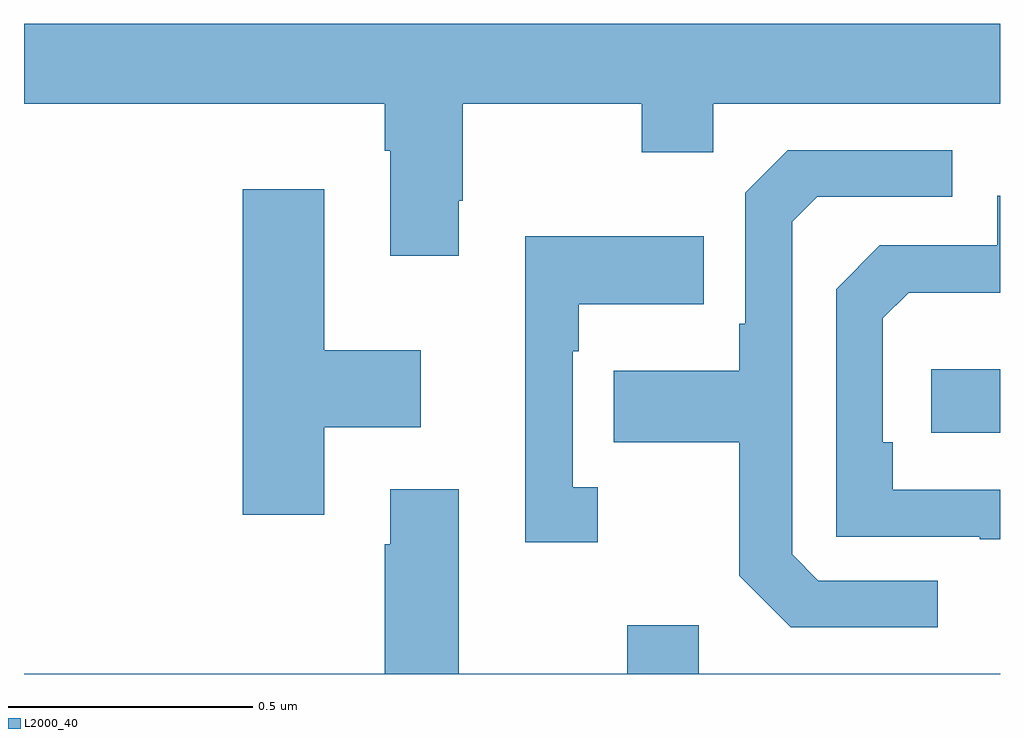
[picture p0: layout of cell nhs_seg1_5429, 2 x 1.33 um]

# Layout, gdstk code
import gdstk
lib = gdstk.Library(unit=1e-6, precision=1e-09)
def R(c, l, rs):  # rectangles x0, y0, x1, y1
    for r in rs: c.add(gdstk.rectangle(r[:2], r[2:], *l))
def P(c, l, *ps):  # polygons
    for p in ps: c.add(gdstk.Polygon(p, *l))
L2000_40 = (2000, 40)

nhs_seg1_5429 = lib.new_cell('nhs_seg1_5429')
R(nhs_seg1_5429, L2000_40, [(179.859,581.694,180,581.824)])
P(nhs_seg1_5429, L2000_40, [(178.891,582.169),(178.899,582.169),(178.899,582.368),(179.266,582.368),(179.266,582.269),(179.412,582.269),(179.412,582.368),(180,582.368),(180,582.532),(178,582.532),(178,582.368),(178.739,582.368),(178.739,582.272),(178.751,582.272),(178.751,582.057),(178.891,582.057)],
  [(179.872,581.391),(179.628,581.391),(179.574,581.445),(179.574,582.126),(179.625,582.177),(179.902,582.177),(179.902,582.273),(179.565,582.273),(179.478,582.186),(179.478,581.917),(179.466,581.917),(179.466,581.821),(179.209,581.821),(179.209,581.674),(179.466,581.674),(179.466,581.401),(179.571,581.295),(179.872,581.295)],
  [(178.615,581.705),(178.813,581.705),(178.813,581.863),(178.615,581.863),(178.615,582.193),(178.448,582.193),(178.448,581.526),(178.615,581.526)],
  [(180,581.577),(179.78,581.577),(179.78,581.674),(179.76,581.674),(179.76,581.928),(179.813,581.981),(180,581.981),(180,582.18),(179.994,582.18),(179.994,582.078),(179.754,582.078),(179.664,581.988),(179.664,581.481),(179.959,581.481),(179.959,581.476),(180,581.476)],
  [(179.176,581.582),(179.124,581.582),(179.124,581.861),(179.137,581.861),(179.137,581.957),(179.393,581.957),(179.393,582.097),(179.027,582.097),(179.027,581.469),(179.176,581.469)],
  [(180,581.2),(179.383,581.2),(179.383,581.299),(179.236,581.299),(179.236,581.2),(178.891,581.2),(178.891,581.578),(178.751,581.578),(178.751,581.465),(178.739,581.465),(178.739,581.2),(178,581.2),(178,581.199),(180,581.199)])

lib.write_gds('nhs_seg1_5429.gds')
